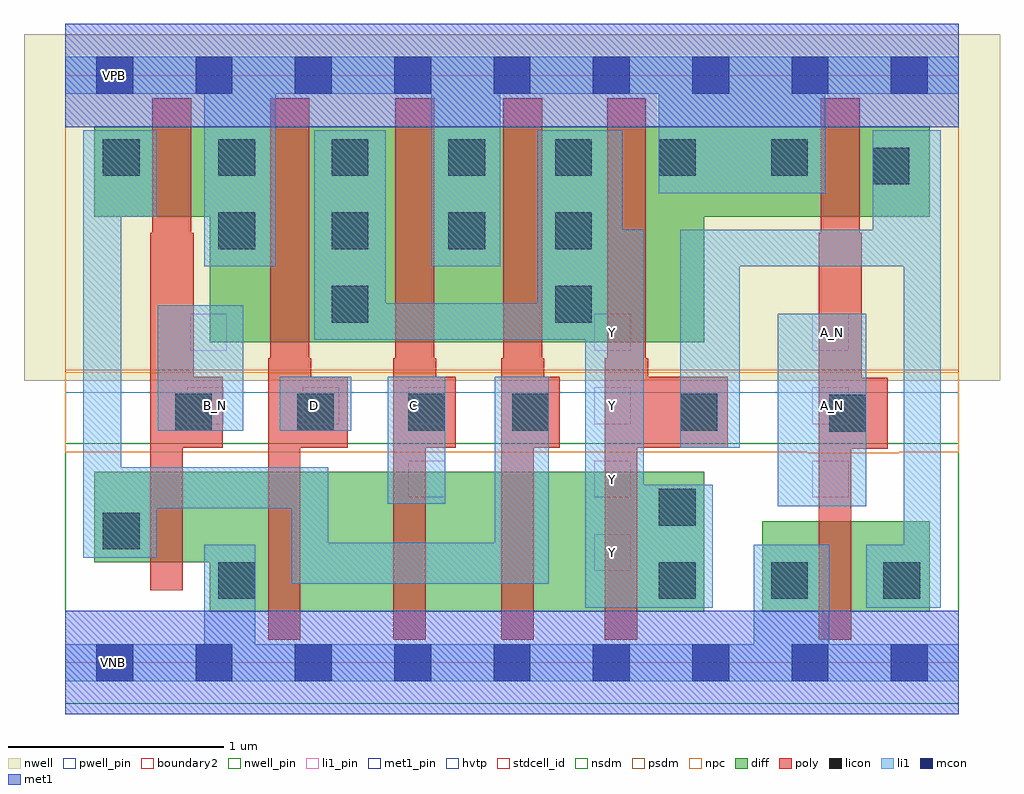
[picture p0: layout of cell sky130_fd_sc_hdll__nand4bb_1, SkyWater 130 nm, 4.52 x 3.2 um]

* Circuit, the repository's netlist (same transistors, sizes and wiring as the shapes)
* Copyright 2020 The SkyWater PDK Authors
*
* Licensed under the Apache License, Version 2.0 (the "License");
* you may not use this file except in compliance with the License.
* You may obtain a copy of the License at
*
*     https://www.apache.org/licenses/LICENSE-2.0
*
* Unless required by applicable law or agreed to in writing, software
* distributed under the License is distributed on an "AS IS" BASIS,
* WITHOUT WARRANTIES OR CONDITIONS OF ANY KIND, either express or implied.
* See the License for the specific language governing permissions and
* limitations under the License.
*
* SPDX-License-Identifier: Apache-2.0

.SUBCKT sky130_fd_sc_hdll__nand4bb_1 A_N B_N C D VGND VNB VPB VPWR Y
*.PININFO A_N:I B_N:I C:I D:I VGND:I VNB:I VPB:I VPWR:I Y:O
MMP0 Y A VPWR VPB sky130_fd_pr__pfet_01v8_hvt m=1 w=1.0U l=0.18U mult=1 sa=0.265
+ sb=0.265 sd=0.28 area=0.063 perim=1.14
MMP1 Y B VPWR VPB sky130_fd_pr__pfet_01v8_hvt m=1 w=1.0U l=0.18U mult=1 sa=0.265
+ sb=0.265 sd=0.28 area=0.063 perim=1.14
MMP2 Y C VPWR VPB sky130_fd_pr__pfet_01v8_hvt m=1 w=1.0U l=0.18U mult=1 sa=0.265
+ sb=0.265 sd=0.28 area=0.063 perim=1.14
MMP3 Y D VPWR VPB sky130_fd_pr__pfet_01v8_hvt m=1 w=1.0U l=0.18U mult=1 sa=0.265
+ sb=0.265 sd=0.28 area=0.063 perim=1.14
MMIP0 A A_N VPWR VPB sky130_fd_pr__pfet_01v8_hvt m=1 w=0.42U l=0.18U mult=1 sa=0.265
+ sb=0.265 sd=0.28 area=0.063 perim=1.14
MMIP1 B B_N VPWR VPB sky130_fd_pr__pfet_01v8_hvt m=1 w=0.42U l=0.18U mult=1 sa=0.265
+ sb=0.265 sd=0.28 area=0.063 perim=1.14
MMN0 Y A sndA VNB sky130_fd_pr__nfet_01v8 m=1 w=0.65U l=0.15U mult=1 sa=0.265 sb=0.265
+ sd=0.28 area=0.063 perim=1.14
MMN1 sndA B sndB VNB sky130_fd_pr__nfet_01v8 m=1 w=0.65U l=0.15U mult=1 sa=0.265
+ sb=0.265 sd=0.28 area=0.063 perim=1.14
MMN2 sndB C sndC VNB sky130_fd_pr__nfet_01v8 m=1 w=0.65U l=0.15U mult=1 sa=0.265
+ sb=0.265 sd=0.28 area=0.063 perim=1.14
MMN3 sndC D VGND VNB sky130_fd_pr__nfet_01v8 m=1 w=0.65U l=0.15U mult=1 sa=0.265
+ sb=0.265 sd=0.28 area=0.063 perim=1.14
MMIN0 A A_N VGND VNB sky130_fd_pr__nfet_01v8 m=1 w=0.42U l=0.15U mult=1 sa=0.265
+ sb=0.265 sd=0.28 area=0.063 perim=1.14
MMIN1 B B_N VGND VNB sky130_fd_pr__nfet_01v8 m=1 w=0.42U l=0.15U mult=1 sa=0.265
+ sb=0.265 sd=0.28 area=0.063 perim=1.14
.ENDS sky130_fd_sc_hdll__nand4bb_1

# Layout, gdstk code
import gdstk
lib = gdstk.Library(unit=1e-6, precision=1e-09)
def R(c, l, rs):  # rectangles x0, y0, x1, y1
    for r in rs: c.add(gdstk.rectangle(r[:2], r[2:], *l))
def A(c, l, x, y, w, h, nx, ny, dx, dy):  # array of equal rectangles
    R(c, l, [(x+i*dx, y+j*dy, x+i*dx+w, y+j*dy+h) for i in range(nx) for j in range(ny)])
def P(c, l, *ps):  # polygons
    for p in ps: c.add(gdstk.Polygon(p, *l))
nwell_pin = (64, 16)
nwell = (64, 20)
diff = (65, 20)
poly = (66, 20)
licon = (66, 44)
li1_pin = (67, 16)
li1 = (67, 20)
mcon = (67, 44)
met1_pin = (68, 16)
met1 = (68, 20)
hvtp = (78, 44)
stdcell_id = (81, 4)
nsdm = (93, 44)
psdm = (94, 20)
npc = (95, 20)
pwell_pin = (122, 16)
boundary2 = (236, 0)

sky130_fd_sc_hdll__nand4 = lib.new_cell('sky130_fd_sc_hdll__nand4bb_1')
R(sky130_fd_sc_hdll__nand4, nwell_pin, [(0.145,2.635,0.315,2.805)])
R(sky130_fd_sc_hdll__nand4, nwell, [(-0.19,1.305,4.33,2.91)])
R(sky130_fd_sc_hdll__nand4, diff, [(3.23,0.235,4.005,0.655)])
P(sky130_fd_sc_hdll__nand4, diff, [(2.96,0.885),(0.135,0.885),(0.135,0.465),(0.67,0.465),(0.67,0.235),(2.96,0.235)],
  [(4.005,2.485),(0.135,2.485),(0.135,2.065),(0.67,2.065),(0.67,1.485),(2.96,1.485),(2.96,2.065),(4.005,2.065)])
P(sky130_fd_sc_hdll__nand4, poly, [(0.73,1.325),(0.595,1.325),(0.595,1.99),(0.585,1.99),(0.585,2.615),(0.405,2.615),(0.405,1.99),(0.395,1.99),(0.395,0.335),(0.545,0.335),(0.545,0.995),(0.73,0.995)],
  [(1.31,1.325),(1.14,1.325),(1.14,1.41),(1.13,1.41),(1.13,2.615),(0.95,2.615),(0.95,1.41),(0.94,1.41),(0.94,0.105),(1.09,0.105),(1.09,0.995),(1.31,0.995)],
  [(1.81,1.325),(1.72,1.325),(1.72,1.41),(1.71,1.41),(1.71,2.615),(1.53,2.615),(1.53,1.41),(1.52,1.41),(1.52,0.105),(1.67,0.105),(1.67,0.995),(1.81,0.995)],
  [(2.29,1.325),(2.22,1.325),(2.22,1.41),(2.21,1.41),(2.21,2.615),(2.03,2.615),(2.03,1.41),(2.02,1.41),(2.02,0.105),(2.17,0.105),(2.17,0.995),(2.29,0.995)],
  [(3.07,1.325),(2.7,1.325),(2.7,1.41),(2.69,1.41),(2.69,2.615),(2.51,2.615),(2.51,1.41),(2.5,1.41),(2.5,0.105),(2.65,0.105),(2.65,0.995),(3.07,0.995)],
  [(3.81,1.32),(3.69,1.32),(3.69,1.99),(3.68,1.99),(3.68,2.615),(3.5,2.615),(3.5,1.99),(3.49,1.99),(3.49,0.105),(3.64,0.105),(3.64,0.99),(3.81,0.99)])
A(sky130_fd_sc_hdll__nand4, licon, 2.75, 0.295, 0.17, 0.17, 3, 1, 0.52, 0)
A(sky130_fd_sc_hdll__nand4, licon, 1.235, 1.575, 0.17, 0.17, 1, 3, 0, 0.34)
A(sky130_fd_sc_hdll__nand4, licon, 2.27, 1.575, 0.17, 0.17, 1, 3, 0, 0.34)
R(sky130_fd_sc_hdll__nand4, licon, [(0.71,0.295,0.88,0.465), (0.175,0.525,0.345,0.695), (2.75,0.635,2.92,0.805), (3.54,1.07,3.71,1.24), (0.51,1.075,0.68,1.245), (1.075,1.075,1.245,1.245), (1.59,1.075,1.76,1.245), (2.07,1.075,2.24,1.245), (2.85,1.075,3.02,1.245), (0.71,1.915,0.88,2.085), (1.775,1.915,1.945,2.085), (3.74,2.215,3.91,2.385), (0.175,2.255,0.345,2.425), (0.71,2.255,0.88,2.425), (1.775,2.255,1.945,2.425), (2.75,2.255,2.92,2.425), (3.27,2.255,3.44,2.425)])
A(sky130_fd_sc_hdll__nand4, li1_pin, 2.45, 0.425, 0.17, 0.17, 1, 4, 0, 0.34)
A(sky130_fd_sc_hdll__nand4, li1_pin, 3.46, 0.765, 0.17, 0.17, 1, 3, 0, 0.34)
R(sky130_fd_sc_hdll__nand4, li1_pin, [(1.59,0.765,1.76,0.935), (0.565,1.105,0.735,1.275), (1.1,1.105,1.27,1.275), (1.59,1.105,1.76,1.275), (0.58,1.445,0.75,1.615)])
R(sky130_fd_sc_hdll__nand4, li1, [(3.3,0.725,3.71,1.615), (1.495,0.735,1.76,1.325), (0.43,1.075,0.825,1.655), (0.995,1.075,1.325,1.325)])
P(sky130_fd_sc_hdll__nand4, li1, [(4.055,2.465),(3.74,2.465),(3.74,2.005),(2.85,2.005),(2.85,0.995),(3.125,0.995),(3.125,1.835),(3.885,1.835),(3.885,0.545),(3.71,0.545),(3.71,0.255),(4.055,0.255)],
  [(3,0.825),(2.68,0.825),(2.68,2.005),(2.58,2.005),(2.58,2.465),(2.19,2.465),(2.19,1.665),(1.485,1.665),(1.485,2.465),(1.155,2.465),(1.155,1.495),(2.41,1.495),(2.41,0.255),(3,0.255)],
  [(2.24,1.325),(1.99,1.325),(1.99,0.555),(1.22,0.555),(1.22,0.905),(0.26,0.905),(0.26,2.065),(0.425,2.065),(0.425,2.465),(0.085,2.465),(0.085,0.485),(0.425,0.485),(0.425,0.715),(1.05,0.715),(1.05,0.365),(2.24,0.365)],
  [(4.14,0.085),(3.54,0.085),(3.54,0.545),(3.19,0.545),(3.19,0.085),(0.88,0.085),(0.88,0.545),(0.645,0.545),(0.645,0.085),(0,0.085),(0,-0.085),(4.14,-0.085)],
  [(4.14,2.805),(0,2.805),(0,2.635),(0.645,2.635),(0.645,1.835),(0.975,1.835),(0.975,2.635),(1.695,2.635),(1.695,1.835),(2.015,1.835),(2.015,2.635),(2.75,2.635),(2.75,2.175),(3.52,2.175),(3.52,2.635),(4.14,2.635)])
A(sky130_fd_sc_hdll__nand4, mcon, 0.145, -0.085, 0.17, 0.17, 9, 2, 0.46, 2.72)
R(sky130_fd_sc_hdll__nand4, met1_pin, [(0.145,-0.085,0.315,0.085), (0.145,2.635,0.315,2.805)])
R(sky130_fd_sc_hdll__nand4, met1, [(0,-0.24,4.14,0.24), (0,2.48,4.14,2.96)])
R(sky130_fd_sc_hdll__nand4, hvtp, [(0,1.25,4.14,2.72)])
R(sky130_fd_sc_hdll__nand4, stdcell_id, [(0,0,4.14,2.72)])
R(sky130_fd_sc_hdll__nand4, nsdm, [(0,-0.19,4.14,1.015)])
R(sky130_fd_sc_hdll__nand4, psdm, [(0,1.355,4.14,2.91)])
P(sky130_fd_sc_hdll__nand4, npc, [(4.14,1.345),(0,1.345),(0,0.975),(3.44,0.975),(3.44,0.97),(3.86,0.97),(3.86,0.975),(4.14,0.975)])
R(sky130_fd_sc_hdll__nand4, pwell_pin, [(0.145,-0.085,0.315,0.085)])
R(sky130_fd_sc_hdll__nand4, boundary2, [(0,0,4.14,2.72)])
sky130_fd_sc_hdll__nand4.add(gdstk.Label('C', (1.615,1.19), layer=67, texttype=5))
sky130_fd_sc_hdll__nand4.add(gdstk.Label('D', (1.155,1.19), layer=67, texttype=5))
sky130_fd_sc_hdll__nand4.add(gdstk.Label('A_N', (3.555,1.53), layer=67, texttype=5))
sky130_fd_sc_hdll__nand4.add(gdstk.Label('A_N', (3.555,1.19), layer=67, texttype=5))
sky130_fd_sc_hdll__nand4.add(gdstk.Label('Y', (2.535,1.53), layer=67, texttype=5))
sky130_fd_sc_hdll__nand4.add(gdstk.Label('Y', (2.535,1.19), layer=67, texttype=5))
sky130_fd_sc_hdll__nand4.add(gdstk.Label('Y', (2.535,0.85), layer=67, texttype=5))
sky130_fd_sc_hdll__nand4.add(gdstk.Label('B_N', (0.695,1.19), layer=67, texttype=5))
sky130_fd_sc_hdll__nand4.add(gdstk.Label('Y', (2.535,0.51), layer=67, texttype=5))
sky130_fd_sc_hdll__nand4.add(gdstk.Label('VNB', (0.225,0), layer=64, texttype=59))
sky130_fd_sc_hdll__nand4.add(gdstk.Label('VPB', (0.23,2.72), layer=64, texttype=5))
sky130_fd_sc_hdll__nand4.add(gdstk.Label('VPWR', (0.23,2.72), layer=68, texttype=5))
sky130_fd_sc_hdll__nand4.add(gdstk.Label('VGND', (0.23,0), layer=68, texttype=5))
sky130_fd_sc_hdll__nand4.add(gdstk.Label('nand4bb_1', (0,0), layer=83, texttype=44))

lib.write_gds('sky130_fd_sc_hdll__nand4bb_1.gds')
